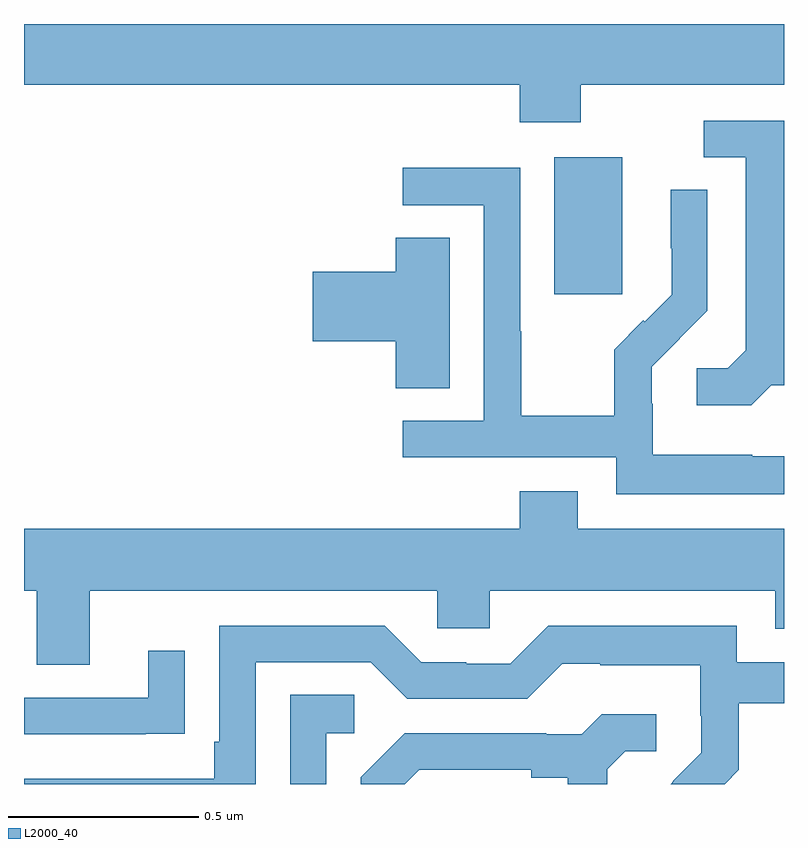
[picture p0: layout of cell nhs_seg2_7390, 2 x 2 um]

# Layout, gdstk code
import gdstk
lib = gdstk.Library(unit=1e-6, precision=1e-09)
def R(c, l, rs):  # rectangles x0, y0, x1, y1
    for r in rs: c.add(gdstk.rectangle(r[:2], r[2:], *l))
def P(c, l, *ps):  # polygons
    for p in ps: c.add(gdstk.Polygon(p, *l))
L2000_40 = (2000, 40)

nhs_seg2_7390 = lib.new_cell('nhs_seg2_7390')
R(nhs_seg2_7390, L2000_40, [(204.395,643.089,204.574,643.45)])
P(nhs_seg2_7390, L2000_40, [(204.465,643.64),(205,643.64),(205,643.8),(203,643.8),(203,643.64),(204.305,643.64),(204.305,643.541),(204.465,643.541)],
  [(204.966,642.849),(205,642.849),(205,643.545),(204.789,643.545),(204.789,643.449),(204.899,643.449),(204.899,642.941),(204.852,642.894),(204.771,642.894),(204.771,642.797),(204.914,642.797)],
  [(205,642.663),(204.917,642.663),(204.917,642.667),(204.654,642.667),(204.654,642.801),(204.652,642.801),(204.652,642.898),(204.726,642.972),(204.725,642.973),(204.798,643.046),(204.798,643.364),(204.702,643.364),(204.702,643.21),(204.704,643.21),(204.704,643.088),(204.633,643.017),(204.63,643.02),(204.553,642.943),(204.553,642.769),(204.309,642.769),(204.309,642.992),(204.306,642.992),(204.306,643.422),(203.997,643.422),(203.997,643.323),(204.21,643.323),(204.21,642.756),(203.997,642.756),(203.997,642.66),(204.558,642.66),(204.558,642.563),(205,642.563)],
  [(204.121,643.238),(203.978,643.238),(203.978,643.148),(203.76,643.148),(203.76,642.965),(203.978,642.965),(203.978,642.841),(204.121,642.841)],
  [(203.173,642.308),(204.087,642.308),(204.087,642.21),(204.225,642.21),(204.225,642.308),(204.977,642.308),(204.977,642.209),(205,642.209),(205,642.472),(204.457,642.472),(204.457,642.571),(204.305,642.571),(204.305,642.472),(203,642.472),(203,642.308),(203.033,642.308),(203.033,642.114),(203.173,642.114)],
  [(203.61,642.12),(203.913,642.12),(204.009,642.024),(204.324,642.024),(204.417,642.117),(204.517,642.117),(204.517,642.113),(204.78,642.113),(204.78,641.979),(204.782,641.979),(204.782,641.882),(204.708,641.808),(204.709,641.807),(204.702,641.8),(204.844,641.8),(204.881,641.837),(204.881,642.012),(205,642.012),(205,642.12),(204.876,642.12),(204.876,642.217),(204.379,642.217),(204.279,642.117),(204.164,642.117),(204.164,642.12),(204.045,642.12),(203.949,642.216),(203.514,642.216),(203.514,641.911),(203.501,641.911),(203.501,641.814),(203,641.814),(203,641.8),(203.61,641.8)],
  [(203.321,641.932),(203.423,641.932),(203.423,642.151),(203.327,642.151),(203.327,642.027),(203,642.027),(203,641.931),(203.321,641.931)],
  [(203.796,641.934),(203.869,641.934),(203.869,642.035),(203.7,642.035),(203.7,641.8),(203.796,641.8)],
  [(204.04,641.838),(204.335,641.838),(204.335,641.816),(204.431,641.816),(204.431,641.8),(204.535,641.8),(204.535,641.839),(204.582,641.886),(204.664,641.886),(204.664,641.983),(204.52,641.983),(204.468,641.931),(204.374,641.931),(204.374,641.934),(204.002,641.934),(203.886,641.818),(203.886,641.8),(204.002,641.8)])

lib.write_gds('nhs_seg2_7390.gds')
